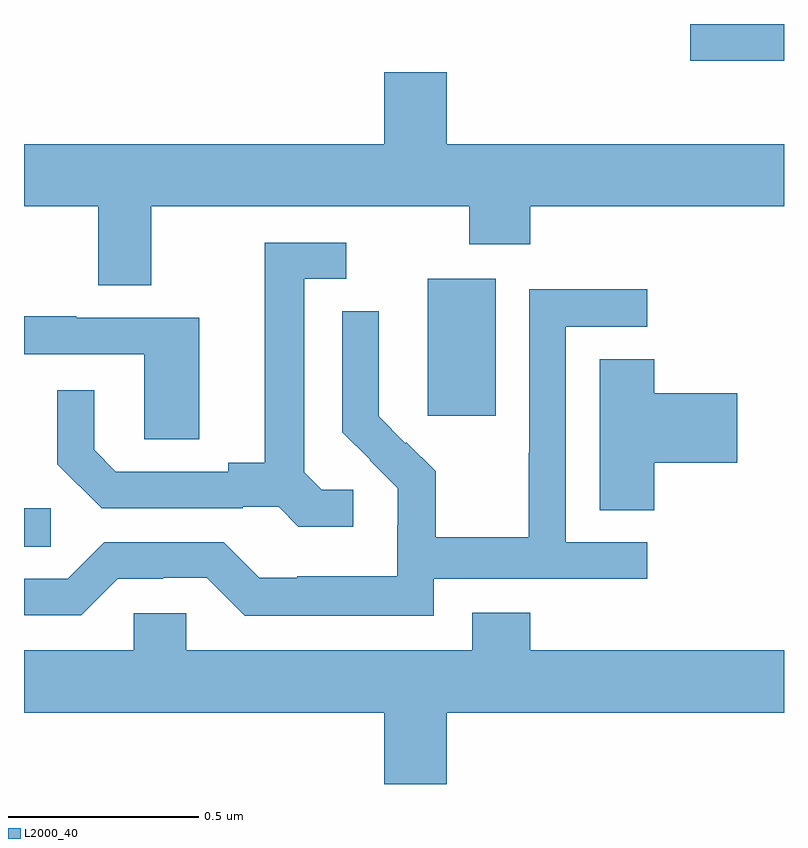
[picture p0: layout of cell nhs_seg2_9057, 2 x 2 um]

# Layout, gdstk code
import gdstk
lib = gdstk.Library(unit=1e-6, precision=1e-09)
def R(c, l, rs):  # rectangles x0, y0, x1, y1
    for r in rs: c.add(gdstk.rectangle(r[:2], r[2:], *l))
def P(c, l, *ps):  # polygons
    for p in ps: c.add(gdstk.Polygon(p, *l))
L2000_40 = (2000, 40)

nhs_seg2_9057 = lib.new_cell('nhs_seg2_9057')
R(nhs_seg2_9057, L2000_40, [(224,629.425,224.071,629.526), (225.062,629.769,225.241,630.13), (225.753,630.703,226,630.8)])
P(nhs_seg2_9057, L2000_40, [(224.335,630.32),(225.172,630.32),(225.172,630.221),(225.332,630.221),(225.332,630.32),(226,630.32),(226,630.484),(225.112,630.484),(225.112,630.673),(224.948,630.673),(224.948,630.484),(224,630.484),(224,630.32),(224.195,630.32),(224.195,630.112),(224.335,630.112)],
  [(224.866,629.574),(224.784,629.574),(224.737,629.621),(224.737,630.129),(224.848,630.129),(224.848,630.225),(224.633,630.225),(224.633,629.645),(224.537,629.645),(224.537,629.622),(224.242,629.622),(224.185,629.679),(224.185,629.836),(224.088,629.836),(224.088,629.642),(224.204,629.526),(224.576,629.526),(224.576,629.529),(224.67,629.529),(224.722,629.477),(224.866,629.477)],
  [(225.078,629.34),(225.64,629.34),(225.64,629.436),(225.426,629.436),(225.426,630.003),(225.64,630.003),(225.64,630.102),(225.33,630.102),(225.33,629.672),(225.328,629.672),(225.328,629.449),(225.083,629.449),(225.083,629.623),(225.006,629.7),(225.003,629.697),(224.933,629.768),(224.933,629.89),(224.934,629.89),(224.934,630.044),(224.838,630.044),(224.838,629.726),(224.911,629.653),(224.91,629.652),(224.984,629.578),(224.984,629.481),(224.982,629.481),(224.982,629.347),(224.719,629.347),(224.719,629.343),(224.619,629.343),(224.526,629.436),(224.211,629.436),(224.115,629.34),(224,629.34),(224,629.244),(224.151,629.244),(224.247,629.34),(224.366,629.34),(224.366,629.343),(224.481,629.343),(224.581,629.243),(225.078,629.243)],
  [(224.461,630.027),(224.137,630.027),(224.137,630.031),(224,630.031),(224,629.931),(224.316,629.931),(224.316,629.707),(224.461,629.707)],
  [(225.659,629.645),(225.877,629.645),(225.877,629.828),(225.659,629.828),(225.659,629.918),(225.515,629.918),(225.515,629.521),(225.659,629.521)],
  [(225.112,628.988),(226,628.988),(226,629.152),(225.332,629.152),(225.332,629.251),(225.179,629.251),(225.179,629.152),(224.427,629.152),(224.427,629.25),(224.289,629.25),(224.289,629.152),(224,629.152),(224,628.988),(224.948,628.988),(224.948,628.8),(225.112,628.8)])

lib.write_gds('nhs_seg2_9057.gds')
